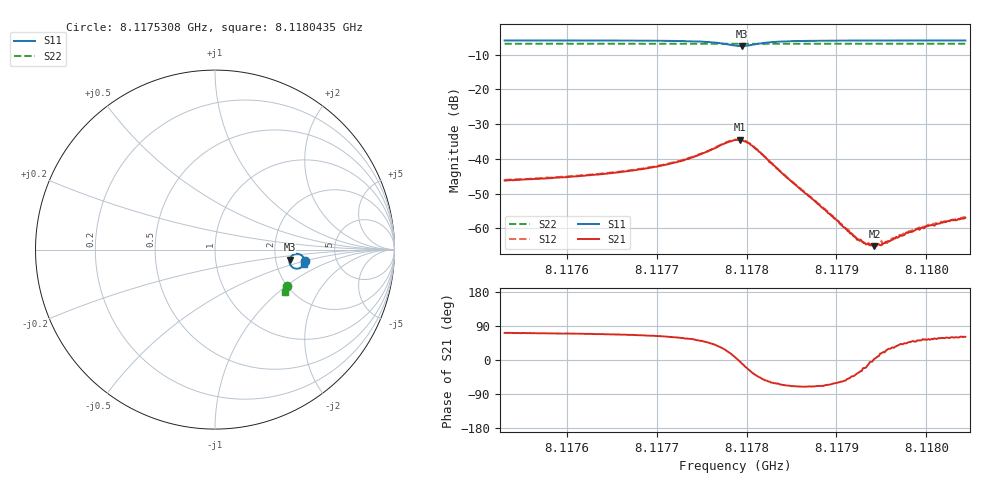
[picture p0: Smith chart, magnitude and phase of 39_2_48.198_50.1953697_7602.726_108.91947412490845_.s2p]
#  HZ  S  RI  R  50.00
! Rohde & Schwarz Vector Network Analyzer
! Rohde-Schwarz,ZNB20-2Port,1311601062101988,3.16
! Created: UTC 3/20/2024, 11:37:47 AM
! freq[Hz]  re:S11  im:S11  re:S21  im:S21  re:S12  im:S12  re:S22  im:S22
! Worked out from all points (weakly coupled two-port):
!   401 points, 8.1175308 GHz to 8.1180435 GHz, reference 50 ohm
!   highest |S21| = -34.53 dB at 8.1177923 GHz (marker M1); lowest = -65.1 dB at 8.1179423 GHz (marker M2)
!   lowest |S11| = -7.6 dB at 8.1177949 GHz (marker M3), VSWR 2.44, Z = 119 - j16.5 ohm
!   |S11| at or under -10 dB: nowhere
!   |S22| runs from -7.0 to -6.9 dB; largest |S21 - S12| = 0.00056
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8.11753082e9  0.5013 -0.0609  0.00155 0.00462  0.00163 0.0047  0.4036 -0.2039
8.11761669e9  0.4989 -0.0708  0.00203 0.00532  0.00212 0.00538  0.4011 -0.2095
8.11765515e9  0.497 -0.0767  0.00245 0.00584  0.00256 0.00587  0.3998 -0.2121
8.11770257e9  0.4921 -0.0863  0.00356 0.00697  0.00369 0.0071  0.3981 -0.2152
8.11773974e9  0.4812 -0.0982  0.00597 0.00859  0.00623 0.00865  0.3964 -0.2178
8.11777051e9  0.4495 -0.1059  0.0129 0.0088  0.013 0.0087  0.3941 -0.2196
8.11778717e9  0.4182 -0.0819  0.0184 0.00244  0.0188 0.00227  0.3926 -0.2192
8.1177923e9  0.4143 -0.0655  0.0187 -0.00114  0.0189 -0.00132  0.3923 -0.2188
8.11779486e9  0.4151 -0.0569  0.0182 -0.00301  0.0184 -0.00316  0.3924 -0.2186
8.11780127e9  0.4245 -0.0377  0.0156 -0.00676  0.0159 -0.00691  0.3929 -0.2183
8.11780896e9  0.4427 -0.0253  0.0114 -0.00886  0.0116 -0.00897  0.3934 -0.2185
8.11783331e9  0.4821 -0.032  0.00338 -0.00648  0.0034 -0.00665  0.3944 -0.2207
8.11787305e9  0.4961 -0.0523  0.000933 -0.00248  0.000917 -0.0025  0.3935 -0.2239
8.11792304e9  0.4988 -0.0654  0.000553 -0.000395  0.000575 -0.000397  0.392 -0.2276
8.11793201e9  0.4989 -0.067  0.000565 -0.000219  0.000582 -0.000188  0.3916 -0.228
8.11794226e9  0.4989 -0.0687  0.000552 3.51e-05  0.000564 2.35e-05  0.3914 -0.2287
8.11795124e9  0.499 -0.0702  0.000566 0.000199  0.000554 0.000181  0.391 -0.2293
8.1179538e9  0.4989 -0.0706  0.000577 0.000213  0.000572 0.000203  0.3909 -0.2295
8.11795893e9  0.4989 -0.0714  0.000561 0.000322  0.000584 0.000338  0.3909 -0.2298
8.11797815e9  0.4989 -0.0742  0.000626 0.00061  0.000629 0.000598  0.3902 -0.2311
8.11800251e9  0.4986 -0.0773  0.000616 0.000886  0.000665 0.000917  0.3893 -0.2327
8.11804352e9  0.4981 -0.0819  0.000686 0.00124  0.000672 0.00125  0.3881 -0.2352
